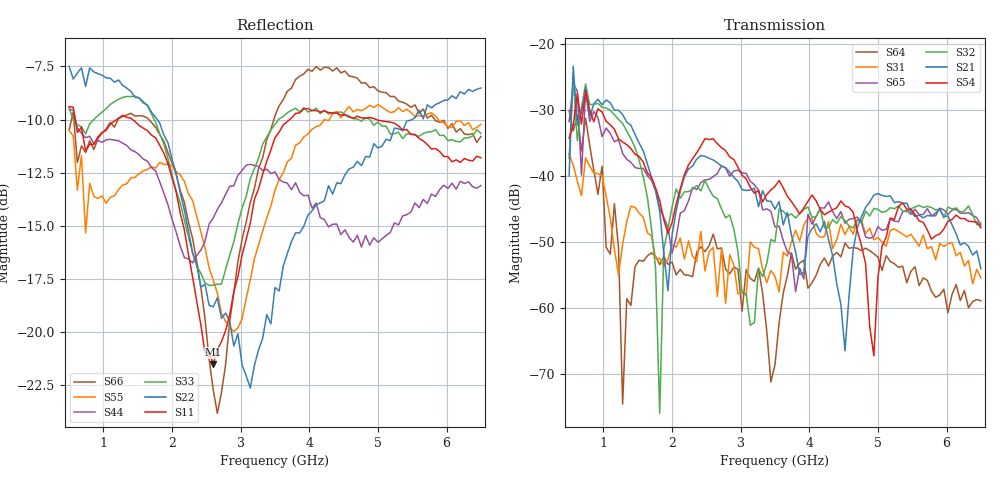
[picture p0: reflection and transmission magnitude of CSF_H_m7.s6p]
!Keysight Technologies,M9804A,MY58100912,A.14.10.03
!Date: Thursday, April 27, 2023 10:28:33
!Correction: S11(C  6-Port  )
!S12(C  6-Port  )
!S13(C  6-Port  )
!S14(C  6-Port  )
!S15(C  6-Port  )
!S16(C  6-Port  )
!S21(C  6-Port  )
!S22(C  6-Port  )
!S23(C  6-Port  )
!S24(C  6-Port  )
!S25(C  6-Port  )
!S26(C  6-Port  )
!S31(C  6-Port  )
!S32(C  6-Port  )
!S33(C  6-Port  )
!S34(C  6-Port  )
!S35(C  6-Port  )
!S36(C  6-Port  )
!S41(C  6-Port  )
!S42(C  6-Port  )
!S43(C  6-Port  )
!S44(C  6-Port  )
!S45(C  6-Port  )
!S46(C  6-Port  )
!S51(C  6-Port  )
!S52(C  6-Port  )
!S53(C  6-Port  )
!S54(C  6-Port  )
!S55(C  6-Port  )
!S56(C  6-Port  )
!S61(C  6-Port  )
!S62(C  6-Port  )
!S63(C  6-Port  )
!S64(C  6-Port  )
!S65(C  6-Port  )
!S66(C  6-Port  )
!S6P File: Measurement: :
# Hz S  RI  R 50
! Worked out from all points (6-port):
!   101 points, 500 MHz to 6.5 GHz, reference 50 ohm
!   strongest paths, dB at 500 MHz, 2 GHz, 3.5 GHz, 5 GHz, 6.5 GHz:
!     S54: -34.3, -47.1, -41.6, -55.4, -47.9
!     S21: -40.0, -49.0, -45.0, -42.7, -54.1
!     S32: -37.4, -44.7, -50.0, -45.1, -47.1
!     S65: -31.8, -51.7, -47.8, -47.7, -47.5
!     S31: -36.7, -50.5, -55.2, -49.3, -55.5
!     S64: -30.1, -53.1, -68.6, -52.3, -58.9
!   lowest |S11| = -21.5 dB at 2.6 GHz (marker M1), VSWR 1.18, Z = 42.5 + j2.18 ohm
!   |S11| at or under -10 dB: 589.5 MHz to 1.193 GHz (603.8 MHz wide, 67.7 % of centre); 1.424 GHz to 3.714 GHz (2.29 GHz wide, 89.2 % of centre); 4.978 GHz to end of sweep
